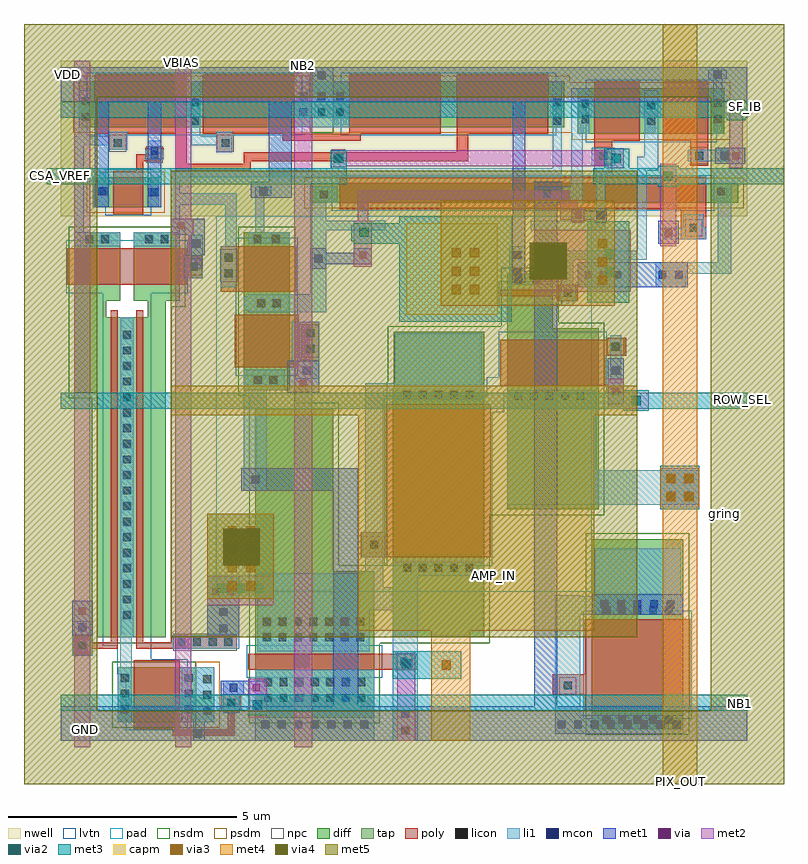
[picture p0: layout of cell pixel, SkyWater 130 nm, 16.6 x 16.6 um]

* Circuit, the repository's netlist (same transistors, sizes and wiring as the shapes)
** sch_path: /home/hni/TopmetalSe-Respin/xschem/pixel/pixel.sch
.subckt pixel VDD GND SF_IB gring VBIAS pix_out ROW_SEL VREF AMP_IN NB2 NB1 CSA_VREF
*.PININFO pix_out:O SF_IB:I ROW_SEL:I VREF:I AMP_IN:I NB1:I CSA_VREF:I VBIAS:I NB2:I VDD:I GND:I gring:I
XM2 net2 ROW_SEL pix_out GND sky130_fd_pr__nfet_01v8_lvt L=1 W=2 nf=1 m=1
XM3 GND AMP_OUT net1 VDD sky130_fd_pr__pfet_01v8_lvt L=1 W=1 nf=1 m=1
XM5 net1 SF_IB VDD VDD sky130_fd_pr__pfet_01v8_lvt L=1 W=1 nf=1 m=1
XM7 VDD net1 net2 GND sky130_fd_pr__nfet_01v8_lvt L=0.15 W=1 nf=1 m=1
XM1 VDD net6 AMP_OUT GND sky130_fd_pr__nfet_01v8_lvt L=1 W=1 nf=1 m=1
XM8 net5 net5 net7 VDD sky130_fd_pr__pfet_01v8_lvt L=2 W=1 nf=1 m=1
XM10 net8 net7 VDD VDD sky130_fd_pr__pfet_01v8_lvt L=2 W=1 nf=1 m=1
XM11 net7 net7 VDD VDD sky130_fd_pr__pfet_01v8_lvt L=2 W=1 nf=1 m=1
XM15 AMP_OUT NB2 GND GND sky130_fd_pr__nfet_01v8_lvt L=1.15 W=1 nf=1 m=1
XM16 net4 NB1 GND GND sky130_fd_pr__nfet_01v8_lvt L=1 W=1.2 nf=1 m=1
XC3 AMP_IN AMP_OUT sky130_fd_pr__cap_mim_m3_1 W=2 L=2 m=1
XM4 net3 VREF net4 GND sky130_fd_pr__nfet_01v8_lvt L=0.15 W=7 nf=1 m=1
XM6 AMP_IN CSA_VREF AMP_OUT VDD sky130_fd_pr__pfet_01v8_lvt L=7.95 W=0.42 nf=1 m=1
XM9 net6 net5 net8 VDD sky130_fd_pr__pfet_01v8_lvt L=2 W=1 nf=1 m=1
XM12 net5 VBIAS net3 GND sky130_fd_pr__nfet_01v8_lvt L=0.8 W=1 nf=1 m=1
XM13 net9 AMP_IN net4 GND sky130_fd_pr__nfet_01v8_lvt L=0.15 W=7 nf=1 m=1
XM14 net6 VBIAS net9 GND sky130_fd_pr__nfet_01v8_lvt L=0.8 W=1 nf=1 m=1
XMD_4 GND GND GND GND sky130_fd_pr__nfet_01v8_lvt L=0.35 W=2.6 nf=1 m=1
XMD_1 GND GND GND GND sky130_fd_pr__nfet_01v8_lvt L=2 W=2 nf=1 m=1
XM17 VDD VDD VDD VDD sky130_fd_pr__pfet_01v8_lvt L=0.65 W=0.65 nf=1 m=1
XMD_2 GND GND GND GND sky130_fd_pr__nfet_01v8_lvt L=3.35 W=2 nf=1 m=1
.ends
.GLOBAL VDD
.GLOBAL GND
.end

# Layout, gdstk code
import gdstk
lib = gdstk.Library(unit=1e-6, precision=1e-09)
def R(c, l, rs):  # rectangles x0, y0, x1, y1
    for r in rs: c.add(gdstk.rectangle(r[:2], r[2:], *l))
def A(c, l, x, y, w, h, nx, ny, dx, dy):  # array of equal rectangles
    R(c, l, [(x+i*dx, y+j*dy, x+i*dx+w, y+j*dy+h) for i in range(nx) for j in range(ny)])
nwell = (64, 20)
diff = (65, 20)
tap = (65, 44)
poly = (66, 20)
licon = (66, 44)
li1 = (67, 20)
mcon = (67, 44)
met1 = (68, 20)
via = (68, 44)
met2 = (69, 20)
via2 = (69, 44)
met3 = (70, 20)
via3 = (70, 44)
met4 = (71, 20)
via4 = (71, 44)
met5 = (72, 20)
pad = (76, 20)
capm = (89, 44)
nsdm = (93, 44)
psdm = (94, 20)
npc = (95, 20)
lvtn = (125, 44)

pixel = lib.new_cell('pixel')
R(pixel, nwell, [(19,-1.9,34,1.5)])
R(pixel, diff, [(30.6,-13.1,32.6,-8.95), (20.25,-12.95,21.95,-11.75), (23.25,-12.85,25.85,-9.65), (19.8,-11.1,21.3,-5.75), (26.25,-11.1,28.25,-5.65), (23.25,-9.65,24.95,-6.1), (28.75,-8.3,30.75,-4.35), (19.3,-5.75,21.3,-4.1), (23,-5.7,24,-2.25), (26.275,-5.65,28.25,-4.425), (28.75,-4.35,29.75,-3.15), (19.3,-4.1,20,-3.75), (20.9,-4.1,21.3,-3.75), (19.3,-3.75,20.3,-2.25), (20.6,-3.75,21.6,-2.25), (19.7,-1.7,21.15,-1.05), (24.45,-1.6,33.8,-1.18), (30.3,-0.1,33.5,0.9), (19.4,0.05,24.45,1.05), (24.95,0.05,30,1.05)])
R(pixel, tap, [(21.95,-12.95,22.35,-11.75), (24.45,0.05,24.95,1.05)])
R(pixel, poly, [(21.45,-13.25,22.8,-13.1), (20.6,-13.1,21.6,-11.6), (22.65,-13.1,22.8,-12.75), (22.55,-12.75,22.9,-12.7), (22.5,-12.7,22.95,-12.35), (30.45,-12.7,32.75,-12.35), (29.75,-12.35,32.75,-11.9), (30.45,-11.9,32.75,-10.7), (23.1,-11.8,26.8,-11.45), (19.25,-11.5,19.7,-11.35), (19.25,-11.35,20.25,-11.2), (20.65,-11.35,22.85,-11.2), (19.25,-11.2,19.7,-11.05), (20.1,-11.2,20.25,-3.95), (20.65,-11.2,20.8,-3.95), (21.4,-11.2,22.85,-11.05), (25.55,-9.35,28.4,-8.8), (26.1,-8.8,28.4,-6), (28.6,-5.6,30.9,-4.95), (22.8,-5.2,24.2,-5.05), (22.8,-5.05,24.65,-4.2), (28.6,-4.95,31.35,-4.6), (30.95,-4.6,31.35,-4.55), (22.8,-4.2,24.2,-4.05), (29.85,-3.75,30.3,-3.65), (28.6,-3.65,30.3,-3.5), (22.5,-3.55,24.15,-2.55), (29.85,-3.5,30.3,-3.4), (19.15,-3.4,21.75,-3.25), (19.15,-3.25,22.1,-2.75), (19.15,-2.75,21.75,-2.6), (32.55,-2.4,33.1,-1.75), (20.15,-1.85,20.8,-0.9), (25.1,-1.75,33.1,-1.04), (20.65,-0.9,20.8,-0.7), (21.5,-0.9,23.15,-0.75), (30.65,-0.8,31.05,-0.25), (32.75,-0.8,33.15,-0.25), (21.5,-0.75,21.75,-0.1), (23,-0.75,23.15,-0.7), (20.65,-0.7,21.2,-0.65), (23,-0.7,27.9,-0.5), (20.65,-0.65,21.25,-0.55), (20.85,-0.55,21.25,-0.4), (22.4,-0.5,22.75,-0.1), (27.65,-0.5,27.9,-0.1), (20.05,-0.45,20.45,-0.1), (23.85,-0.25,25.55,-0.1), (30.65,-0.25,31.65,1.05), (32.15,-0.25,33.15,1.05), (19.75,-0.1,21.75,1.2), (22.1,-0.1,24.1,1.2), (25.3,-0.1,27.3,1.2), (27.65,-0.1,29.65,1.2)])
A(pixel, licon, 30.835, -12.985, 0.17, 0.17, 5, 2, 0.34, 2.4)
A(pixel, licon, 22.115, -12.775, 0.17, 0.17, 1, 3, 0, 0.34)
A(pixel, licon, 20.315, -12.75, 0.17, 0.17, 1, 3, 0, 0.34)
A(pixel, licon, 21.715, -12.75, 0.17, 0.17, 1, 3, 0, 0.34)
A(pixel, licon, 23.445, -12.505, 0.17, 0.17, 7, 2, 0.34, 0.34)
A(pixel, licon, 21.555, -11.285, 0.17, 0.17, 4, 1, 0.34, 0)
A(pixel, licon, 23.42, -11.18, 0.17, 0.17, 7, 2, 0.34, 0.34)
A(pixel, licon, 20.365, -10.695, 0.17, 0.17, 1, 19, 0, 0.34)
A(pixel, licon, 26.485, -9.66, 0.17, 0.17, 5, 2, 0.34, 3.775)
A(pixel, licon, 28.91, -5.91, 0.17, 0.17, 5, 1, 0.34, 0)
A(pixel, licon, 24.215, 0.295, 0.17, 0.17, 3, 2, 0.4, 0.34)
R(pixel, licon, [(22.64,-12.61,22.81,-12.44), (29.99,-12.235,30.16,-12.065), (26.415,-11.71,26.585,-11.54), (19.39,-11.36,19.56,-11.19), (25.765,-9.16,25.935,-8.99), (23.22,-5.56,23.39,-5.39), (23.56,-5.56,23.73,-5.39), (24.365,-4.88,24.535,-4.71), (31.04,-4.835,31.21,-4.665), (24.365,-4.54,24.535,-4.37), (23.295,-3.885,23.465,-3.715), (23.635,-3.885,23.805,-3.715), (29.99,-3.66,30.16,-3.49), (28.915,-3.385,29.085,-3.215), (29.315,-3.385,29.485,-3.215), (22.59,-3.23,22.76,-3.06), (21.815,-3.085,21.985,-2.915), (22.59,-2.89,22.76,-2.72), (19.545,-2.485,19.715,-2.315), (19.885,-2.485,20.055,-2.315), (20.845,-2.485,21.015,-2.315), (21.185,-2.485,21.355,-2.315), (23.215,-2.475,23.385,-2.305), (23.615,-2.475,23.785,-2.305), (32.74,-2.235,32.91,-2.065), (24.665,-1.51,24.835,-1.34), (20.915,-1.46,21.085,-1.29), (33.34,-1.445,33.51,-1.275), (19.865,-1.435,20.035,-1.265), (30.765,-0.66,30.935,-0.49), (32.865,-0.66,33.035,-0.49), (20.965,-0.635,21.135,-0.465), (20.165,-0.385,20.335,-0.215), (22.515,-0.385,22.685,-0.215), (31.815,0.095,31.985,0.265), (21.85,0.1,22.02,0.27), (29.75,0.1,29.92,0.27), (30.38,0.135,30.55,0.305), (33.265,0.145,33.435,0.315), (19.465,0.195,19.635,0.365), (31.815,0.435,31.985,0.605), (30.38,0.475,30.55,0.645), (33.265,0.485,33.435,0.655), (21.85,0.5,22.02,0.67), (29.75,0.5,29.92,0.67), (19.465,0.535,19.635,0.705)])
R(pixel, li1, [(21.9,-13.35,22.15,-12.95), (23.25,-13.35,25.85,-11.8), (26.25,-13.35,26.8,-10.5), (29.8,-13.2,32.6,-12.8), (20.25,-12.95,20.55,-11.75), (21.65,-12.95,22.35,-11.75), (29.8,-12.8,30.35,-10.6), (22.55,-12.75,22.9,-12.35), (22.55,-12.35,23,-12.05), (20.3,-11.75,20.55,-11.1), (19.25,-11.5,19.7,-10.75), (23.3,-11.4,25.75,-10.5), (21.45,-11.35,22.9,-11.05), (20.3,-11.1,20.6,-4.1), (22.2,-11.05,22.9,-10.4), (29.8,-10.6,32.6,-10.2), (23.3,-10.5,26.8,-10), (29.8,-10.2,30.35,-10.175), (30.65,-10.2,32.55,-9.15), (23.3,-10,26.05,-9.7), (26.25,-10,26.8,-9.75), (26.25,-9.75,28.25,-9.45), (25.65,-9.7,26.05,-9.35), (25.6,-9.35,26.1,-8.8), (25.65,-8.8,26.05,-5.9), (28.75,-8.2,32.95,-7.45), (23,-7.9,23.5,-5.7), (28.75,-7.45,30.7,-5.7), (25.65,-5.9,28.25,-5.55), (23,-5.7,23.9,-5.25), (26.3,-5.55,28.2,-4.45), (31,-5.55,31.25,-4.5), (24.1,-5.45,24.65,-5.05), (24.05,-5.05,24.65,-4.2), (23.1,-4,24.8,-3.95), (23,-3.95,24.8,-3.65), (29.95,-3.85,30.2,-3.75), (29.9,-3.75,30.25,-3.4), (23.1,-3.65,24.8,-3.6), (24.45,-3.6,24.8,-2.2), (22.5,-3.45,22.85,-2.55), (32,-3.45,32.65,-3.15), (28.8,-3.4,29.7,-3.1), (29.95,-3.4,30.2,-2.85), (21.7,-3.25,22.1,-2.75), (32,-3.15,33.65,-2.9), (28.8,-3.1,29.15,-2.55), (33.35,-2.9,33.65,-1.55), (29.95,-2.85,31.8,-2.65), (21.85,-2.75,22.1,-2.3), (31.6,-2.65,31.8,-0.9), (19.3,-2.55,20.3,-2.25), (20.6,-2.55,21.6,-2.25), (22.6,-2.55,22.85,-1.65), (23.1,-2.5,24,-2.25), (32.15,-2.4,33.1,-2.15), (19.3,-2.25,19.5,-0.35), (21.4,-2.25,21.6,-1.65), (23.25,-2.25,23.45,-1.45), (24.45,-2.2,26.09,-2), (29.27,-2.2,30.9,-2), (32.6,-2.15,33.05,-1.85), (24.45,-2,24.8,-1.6), (25.89,-2,26.09,-1.99), (30.7,-2,30.9,-0.95), (19.7,-1.7,20.05,-1.05), (20.9,-1.7,21.15,-1.05), (21.4,-1.65,22.85,-1.4), (24.45,-1.6,25.05,-1.25), (29.35,-1.6,30.4,-1.25), (33.2,-1.55,33.65,-1.18), (23.25,-1.45,23.6,-1.25), (21.4,-1.4,21.6,-1.05), (30.15,-1.25,30.4,-0.1), (19.85,-1.05,20.05,-0.95), (21.4,-1.05,29.95,-0.85), (30.65,-0.95,31.05,-0.8), (31.6,-0.9,32.05,-0.6), (29.75,-0.85,29.95,1.05), (30.6,-0.8,31.1,-0.4), (32.7,-0.7,33.6,-0.45), (20.85,-0.65,21.25,-0.45), (31.75,-0.6,32.05,0.85), (22.4,-0.5,22.75,-0.35), (20.05,-0.45,20.45,-0.35), (20.9,-0.45,21.2,-0.25), (19.3,-0.35,20.45,-0.15), (21.85,-0.35,22.75,-0.15), (19.4,-0.15,19.65,0.85), (20.05,-0.15,20.45,-0.05), (21.85,-0.15,22.05,1.05), (22.4,-0.15,22.75,-0.05), (30.15,-0.1,30.55,0.9), (33.25,-0.1,33.45,1.1), (24.1,0.05,25.3,1.05), (24.45,1.05,24.95,1.35), (33.15,1.1,33.55,1.3), (33.25,1.3,33.45,1.35)])
A(pixel, mcon, 23.385, -13.085, 0.17, 0.17, 7, 1, 0.36, 0)
A(pixel, mcon, 29.855, -13.085, 0.17, 0.17, 8, 1, 0.36, 0)
A(pixel, mcon, 30.795, -10.46, 0.17, 0.17, 5, 1, 0.36, 0)
R(pixel, mcon, [(21.915,-13.285,22.085,-13.115), (26.44,-13.215,26.61,-13.045), (26.44,-12.855,26.61,-12.685), (22.69,-12.285,22.86,-12.115), (22.465,-10.99,22.635,-10.82), (19.39,-10.96,19.56,-10.79), (22.465,-10.63,22.635,-10.46), (32.26,-8.09,32.43,-7.92), (32.62,-8.09,32.79,-7.92), (23.165,-7.735,23.335,-7.565), (32.26,-7.73,32.43,-7.56), (32.62,-7.73,32.79,-7.56), (24.29,-5.36,24.46,-5.19), (31.04,-5.36,31.21,-5.19), (32.06,-3.26,32.23,-3.09), (32.42,-3.26,32.59,-3.09), (28.89,-3.19,29.06,-3.02), (24.54,-2.91,24.71,-2.74), (28.89,-2.83,29.06,-2.66), (21.89,-2.585,22.06,-2.415), (32.19,-2.36,32.36,-2.19), (30.715,-1.965,30.885,-1.795), (29.54,-1.485,29.71,-1.315), (20.965,-1.46,21.135,-1.29), (19.815,-1.435,19.985,-1.265), (23.34,-1.435,23.51,-1.265), (33.415,-0.66,33.585,-0.49), (20.965,-0.56,21.135,-0.39), (24.615,1.09,24.785,1.26), (33.265,1.115,33.435,1.285)])
R(pixel, met1, [(19,-13.35,34,-12.6), (24.95,-12.6,25.5,-7.9), (29.35,-12.6,29.85,-1.6), (22.5,-12.35,23.5,-12.05), (22.2,-11.1,22.9,-9.75), (19.25,-11.05,19.7,-10.3), (30.6,-10.6,32.6,-10.15), (32.1,-8.2,32.95,-7.45), (22.95,-7.9,25.5,-7.4), (30.95,-6,31.3,-5), (23.95,-5.75,24.65,-5.05), (30.3,-3.45,32.7,-2.9), (28.86,-3.35,29.15,-1.89), (21.85,-3.05,22.1,-2.75), (24.45,-3.05,24.8,-2.95), (24.45,-2.95,25.8,-2.7), (21.8,-2.75,22.15,-2.3), (24.45,-2.7,24.8,-2.6), (25.4,-2.7,25.8,-2.6), (32.05,-2.5,32.5,-2), (21.4,-2.3,22.15,-1.95), (30.67,-2.04,30.93,-1.98), (30.15,-2.01,30.47,-1.98), (30.15,-1.98,30.93,-1.78), (28.87,-1.89,29.15,0.6), (30.15,-1.78,30.47,-1.75), (30.67,-1.78,30.93,-1.72), (19.75,-1.7,20.05,0.6), (20.9,-1.7,21.2,0.6), (29.35,-1.6,29.95,-1.15), (23.15,-1.5,24.05,-1.15), (23.55,-1.15,24.05,0.6), (33.3,-0.75,33.95,-0.4), (19,0.6,34,1.35)])
A(pixel, via, 30.455, -3.25, 0.15, 0.15, 3, 1, 0.32, 0)
R(pixel, via, [(26.475,-13.2,26.625,-13.05), (23.2,-12.275,23.35,-12.125), (19.4,-10.6,19.55,-10.45), (22.315,-10.175,22.465,-10.025), (22.635,-10.175,22.785,-10.025), (32.29,-8.06,32.44,-7.91), (32.61,-8.06,32.76,-7.91), (32.29,-7.74,32.44,-7.59), (32.61,-7.74,32.76,-7.59), (31.05,-5.8,31.2,-5.65), (24.225,-5.625,24.375,-5.475), (25.525,-2.825,25.675,-2.675), (32.2,-2.325,32.35,-2.175), (21.55,-2.175,21.7,-2.025), (30.235,-1.955,30.385,-1.805), (33.675,-0.65,33.825,-0.5)])
R(pixel, met2, [(19.3,-13.5,19.65,1.5), (21.5,-13.5,21.85,-2.3), (24.1,-13.5,24.5,1.5), (26.35,-13.35,26.75,-11.4), (23.1,-12.85,23.5,-12), (22.2,-10.4,23.65,-9.75), (32.1,-8.25,32.95,-7.4), (30.95,-6.1,31.85,-5.75), (30.95,-5.75,31.3,-5.45), (29.35,-3.55,31.45,-2.2), (25.4,-3,25.8,-2), (32.1,-2.55,32.45,-0.75), (21.4,-2.3,21.9,-1.95), (30.18,-2.04,30.44,-1.98), (25.485,-2,25.715,-1.575), (29.91,-1.98,30.44,-1.72), (21.5,-1.95,21.85,1.5), (29.91,-1.72,30.29,-1.58), (29.91,-1.58,30.11,-1.54), (25.485,-1.575,26.095,-1.54), (25.485,-1.54,30.11,-1.345), (25.89,-1.345,30.11,-1.34), (30.955,-0.85,31.305,-0.805), (33.6,-0.85,33.9,0.65), (24.92,-0.825,25.22,-0.805), (24.895,-0.805,31.305,-0.455), (24.92,-0.455,25.22,-0.435), (30.955,-0.455,31.305,-0.41)])
A(pixel, via2, 22.425, -10.125, 0.2, 0.2, 3, 1, 0.4, 0)
R(pixel, via2, [(23.2,-12.675,23.4,-12.475), (26.45,-11.775,26.65,-11.575), (32.225,-8.125,32.425,-7.925), (32.625,-8.125,32.825,-7.925), (32.225,-7.725,32.425,-7.525), (32.625,-7.725,32.825,-7.525), (31.475,-6.025,31.675,-5.825), (30.9,-3.225,31.1,-3.025), (30.9,-2.825,31.1,-2.625), (25.525,-2.35,25.725,-2.15), (32.175,-1.125,32.375,-0.925), (24.97,-0.73,25.17,-0.53), (31.03,-0.73,31.23,-0.53), (33.65,0.35,33.85,0.55)])
R(pixel, met3, [(23.1,-12.8,23.5,-12.7), (19,-12.7,34,-12.35), (26.25,-12,27.75,-11.4), (22.2,-10.25,23.65,-8.4), (32.1,-8.3,32.95,-7.35), (31.3,-6.15,31.85,-6.1), (19,-6.1,34,-5.75), (31.3,-5.75,31.85,-5.7), (26.4,-4.2,28.85,-2.5), (30.5,-3.79,31.42,-2.01), (25.4,-2.5,28.85,-2.45), (25.35,-2.45,28.85,-2.1), (25.4,-2.1,28.85,-2.05), (26.4,-2.05,28.85,-1.9), (32.05,-1.25,32.5,-1.2), (18.7,-1.2,25.245,-0.85), (30.63,-1.2,34.8,-0.85), (24.895,-0.85,25.245,-0.455), (30.87,-0.85,31.42,-0.43), (32.05,-0.85,32.5,-0.8), (33.55,0.2,33.95,0.25), (19,0.25,34,0.6), (33.55,0.6,33.95,0.65)])
A(pixel, via3, 22.65, -10.075, 0.2, 0.2, 1, 4, 0, 0.4)
A(pixel, via3, 23.05, -10.075, 0.2, 0.2, 1, 4, 0, 0.4)
A(pixel, via3, 27.54, -3.6, 0.2, 0.2, 1, 3, 0, 0.4)
A(pixel, via3, 27.94, -3.6, 0.2, 0.2, 1, 3, 0, 0.4)
A(pixel, via3, 30.735, -3.4, 0.2, 0.2, 1, 3, 0, 0.4)
R(pixel, via3, [(27.325,-11.8,27.525,-11.6), (32.225,-8.125,32.425,-7.925), (32.625,-8.125,32.825,-7.925), (32.225,-7.725,32.425,-7.525), (32.625,-7.725,32.825,-7.525)])
R(pixel, met4, [(32.15,-14.3,32.9,-8.25), (27.1,-13.35,27.95,-10.95), (25.5,-10.95,30.65,-6.25), (22.2,-10.25,23.65,-8.4), (32.1,-8.25,32.95,-7.4), (32.15,-7.4,32.9,2.3), (21.4,-6.25,31.6,-5.6), (27.3,-3.85,31.1,-1.55)])
R(pixel, via4, [(22.55,-9.525,23.35,-8.725), (29.25,-3.275,30.05,-2.475)])
R(pixel, met5, [(18.2,-14.3,34.8,-12.7), (18.2,-12.7,19.8,0.7), (33.2,-12.7,34.8,0.7), (21.4,-11.1,31.6,-0.9), (18.2,0.7,34.8,2.3)])
R(pixel, pad, [(22.4,-10.1,30.6,-1.9)])
R(pixel, capm, [(26.55,-4.05,28.55,-2.05)])
R(pixel, nsdm, [(30.475,-13.225,32.725,-8.825), (20.125,-13.075,21.95,-11.625), (23.125,-12.975,25.975,-11.225), (19.675,-11.225,21.425,-5.875), (23.125,-11.225,28.375,-9.525), (23.125,-9.525,25.075,-5.975), (26.125,-9.525,28.375,-8.425), (26.125,-8.425,30.875,-5.525), (23.125,-5.975,24.125,-5.825), (19.175,-5.875,21.425,-3.875), (22.875,-5.825,24.125,-2.125), (26.15,-5.525,30.875,-4.3), (28.625,-4.3,30.875,-4.225), (28.625,-4.225,29.875,-3.025), (19.175,-3.875,21.725,-2.125), (24.45,-0.075,24.95,1.175)])
R(pixel, psdm, [(21.95,-13.075,22.475,-11.625), (19.575,-1.825,21.275,-0.925), (24.325,-1.725,33.925,-1.055), (30.175,-0.225,33.625,-0.075), (19.275,-0.075,24.45,1.175), (24.95,-0.075,33.625,1.025), (24.95,1.025,30.125,1.175)])
R(pixel, npc, [(22.54,-12.71,22.91,-12.34), (29.89,-12.335,30.26,-11.965), (26.315,-11.81,26.685,-11.44), (19.29,-11.46,19.66,-11.09), (21.455,-11.385,22.845,-11.015), (25.665,-9.26,26.035,-8.89), (24.265,-4.98,24.635,-4.27), (30.94,-4.935,31.31,-4.565), (29.89,-3.76,30.26,-3.39), (22.49,-3.33,22.86,-2.62), (21.715,-3.185,22.085,-2.815), (32.64,-2.335,33.01,-1.965), (30.665,-0.76,31.035,-0.39), (32.765,-0.76,33.135,-0.39), (20.865,-0.735,21.235,-0.365), (20.065,-0.485,20.435,-0.115), (22.415,-0.485,22.785,-0.115)])
R(pixel, lvtn, [(20.42,-13.13,21.78,-11.9), (30.42,-12.88,32.78,-10.52), (23.07,-11.98,26.03,-11.27), (20.235,-11.9,21.78,-11.57), (20.235,-11.57,20.98,-11.28), (19.92,-11.28,20.98,-3.58), (26.07,-9.53,28.43,-6.185), (26.07,-6.185,28.69,-5.82), (28.31,-5.82,28.69,-5.78), (28.31,-5.78,30.93,-5.415), (28.57,-5.415,30.93,-4.42), (22.82,-5.38,24.18,-2.37), (28.57,-3.83,29.93,-3.32), (19.12,-3.58,21.78,-2.42), (19.97,-1.88,20.98,-0.87), (24.92,-1.78,33.28,-1), (30.47,-0.28,33.33,1.08), (19.57,-0.13,24.28,1.23), (25.12,-0.13,29.83,1.23)])
pixel.add(gdstk.Label('gring', (33.5,-8.4), layer=72, texttype=5))
pixel.add(gdstk.Label('VDD', (19.15,1.2), layer=68, texttype=5))
pixel.add(gdstk.Label('GND', (19.55,-13.1), layer=68, texttype=5))
pixel.add(gdstk.Label('VREF', (19.35,1.45), layer=69, texttype=5))
pixel.add(gdstk.Label('ROW_SEL', (33.9,-5.9), layer=70, texttype=5))
pixel.add(gdstk.Label('NB1', (33.85,-12.55), layer=70, texttype=5))
pixel.add(gdstk.Label('VBIAS', (21.65,1.45), layer=69, texttype=5))
pixel.add(gdstk.Label('NB2', (24.3,1.4), layer=69, texttype=5))
pixel.add(gdstk.Label('AMP_IN', (28.45,-9.75), layer=72, texttype=5))
pixel.add(gdstk.Label('SF_IB', (33.95,0.5), layer=70, texttype=5))
pixel.add(gdstk.Label('PIX_OUT', (32.55,-14.25), layer=71, texttype=5))
pixel.add(gdstk.Label('CSA_VREF', (19,-1), layer=70, texttype=5))

lib.write_gds('pixel.gds')
